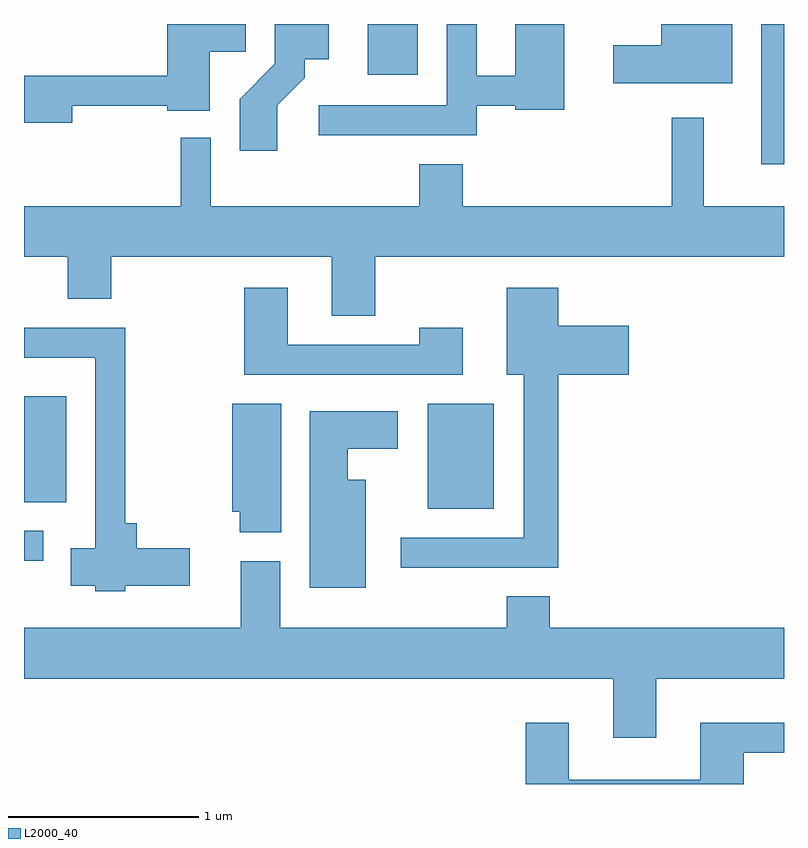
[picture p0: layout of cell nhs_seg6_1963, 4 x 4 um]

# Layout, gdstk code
import gdstk
lib = gdstk.Library(unit=1e-6, precision=1e-09)
def R(c, l, rs):  # rectangles x0, y0, x1, y1
    for r in rs: c.add(gdstk.rectangle(r[:2], r[2:], *l))
def P(c, l, *ps):  # polygons
    for p in ps: c.add(gdstk.Polygon(p, *l))
L2000_40 = (2000, 40)

nhs_seg6_1963 = lib.new_cell('nhs_seg6_1963')
R(nhs_seg6_1963, L2000_40, [(245.611,1537.336,245.713,1537.494), (247.736,1537.611,248.084,1538.164), (245.611,1537.646,245.834,1538.204), (249.491,1539.423,249.611,1540.162), (247.421,1539.896,247.684,1540.162)])
P(nhs_seg6_1963, L2000_40, [(249.339,1540.162),(248.966,1540.162),(248.966,1540.049),(248.711,1540.049),(248.711,1539.851),(249.339,1539.851)],
  [(247.994,1539.731),(248.196,1539.731),(248.196,1539.711),(248.454,1539.711),(248.454,1540.162),(248.196,1540.162),(248.196,1539.889),(247.994,1539.889),(247.994,1540.162),(247.836,1540.162),(247.836,1539.734),(247.163,1539.734),(247.163,1539.576),(247.994,1539.576)],
  [(245.864,1539.731),(246.366,1539.731),(246.366,1539.706),(246.589,1539.706),(246.589,1540.016),(246.779,1540.016),(246.779,1540.162),(246.366,1540.162),(246.366,1539.889),(245.611,1539.889),(245.611,1539.641),(245.864,1539.641)],
  [(246.944,1539.734),(247.089,1539.879),(247.089,1539.976),(247.214,1539.976),(247.214,1540.162),(246.931,1540.162),(246.931,1539.952),(246.746,1539.767),(246.746,1539.496),(246.944,1539.496)],
  [(247.459,1538.936),(249.611,1538.936),(249.611,1539.204),(249.189,1539.204),(249.189,1539.668),(249.021,1539.668),(249.021,1539.204),(247.919,1539.204),(247.919,1539.424),(247.691,1539.424),(247.691,1539.204),(246.594,1539.204),(246.594,1539.563),(246.436,1539.563),(246.436,1539.204),(245.611,1539.204),(245.611,1538.936),(245.841,1538.936),(245.841,1538.716),(246.069,1538.716),(246.069,1538.936),(247.231,1538.936),(247.231,1538.626),(247.459,1538.626)],
  [(247.919,1538.564),(247.691,1538.564),(247.691,1538.474),(246.999,1538.474),(246.999,1538.774),(246.771,1538.774),(246.771,1538.316),(247.919,1538.316)],
  [(248.424,1538.316),(248.794,1538.316),(248.794,1538.574),(248.424,1538.574),(248.424,1538.774),(248.151,1538.774),(248.151,1538.316),(248.241,1538.316),(248.241,1537.459),(247.593,1537.459),(247.593,1537.301),(248.424,1537.301)],
  [(246.144,1537.206),(246.484,1537.206),(246.484,1537.404),(246.204,1537.404),(246.204,1537.534),(246.144,1537.534),(246.144,1538.564),(245.611,1538.564),(245.611,1538.406),(245.986,1538.406),(245.986,1537.404),(245.856,1537.404),(245.856,1537.206),(245.986,1537.206),(245.986,1537.176),(246.144,1537.176)],
  [(246.964,1538.164),(246.706,1538.164),(246.706,1537.596),(246.746,1537.596),(246.746,1537.486),(246.964,1537.486)],
  [(247.409,1537.764),(247.314,1537.764),(247.314,1537.926),(247.579,1537.926),(247.579,1538.124),(247.116,1538.124),(247.116,1537.196),(247.409,1537.196)],
  [(248.939,1536.716),(249.611,1536.716),(249.611,1536.984),(248.379,1536.984),(248.379,1537.149),(248.151,1537.149),(248.151,1536.984),(246.959,1536.984),(246.959,1537.334),(246.751,1537.334),(246.751,1536.984),(245.611,1536.984),(245.611,1536.716),(248.711,1536.716),(248.711,1536.406),(248.939,1536.406)],
  [(249.399,1536.326),(249.611,1536.326),(249.611,1536.484),(249.171,1536.484),(249.171,1536.184),(248.479,1536.184),(248.479,1536.484),(248.251,1536.484),(248.251,1536.162),(249.399,1536.162)])

lib.write_gds('nhs_seg6_1963.gds')
